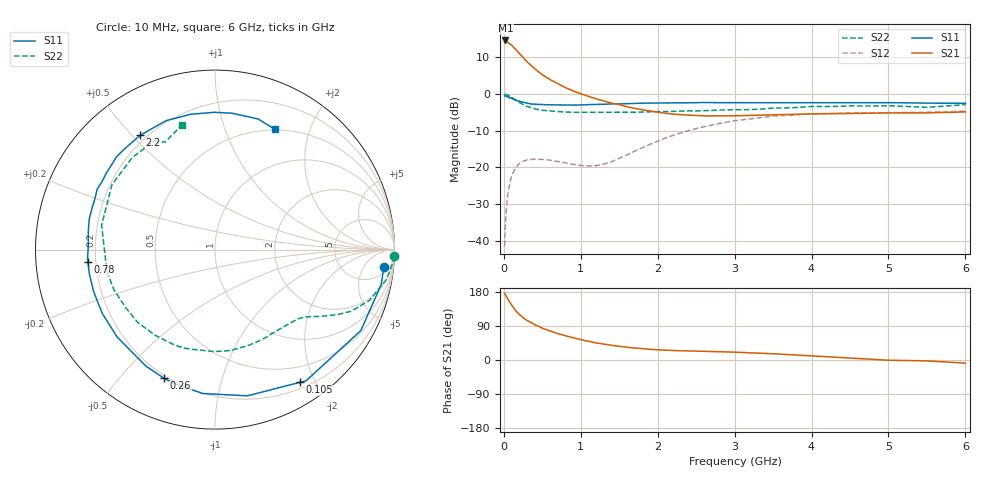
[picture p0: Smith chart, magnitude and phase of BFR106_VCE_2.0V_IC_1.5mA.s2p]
! Infineon Technologies  Discrete & RF Semiconductors
! BFR106
! VCE =  2.0 V,  IC =  1.5 mA
! Common Emitter S-Parameters:  Nov 2015
# GHz  S  MA  R  50
!  f  S11  S21  S12  S22
! GHz  MAG  ANG  MAG  ANG  MAG  ANG  MAG  ANG
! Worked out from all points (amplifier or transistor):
!   210 points, 10 MHz to 6 GHz, reference 50 ohm
!   highest |S21| = 14.6 dB at 20 MHz (marker M1)
!   |S21| within 3 dB of that: start of sweep to 178.3 MHz
!   unconditionally stable (mu >= 1): 807.7 MHz to end of sweep
!   at 185 MHz: K = 0.22, MSG = 15.4 dB, |S12| = -19.3 dB
!   at 1.52 GHz: K = 1.31, MAG = 3.8 dB, |S12| = -17.4 dB
!   at 6 GHz: K = 1.02, MAG = -1.0 dB, |S12| = -4.6 dB
!   S11 on the Smith chart (normalised r, x): 10 MHz: 8, -15; 105 MHz: 0.28, -1.80; 260 MHz: 0.19, -0.66; 780 MHz: 0.17, -0.05; 2.2 GHz: 0.17, +0.53; 6 GHz: 0.49, +1.51
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0.01  0.9461 -5.9  5.384 175.6  0.0084 87.3  0.9977 -2.1
0.02  0.9461 -11.9  5.399 172.6  0.0167 83.1  0.9933 -4.2
0.05  0.9294 -29.0  5.171 160.8  0.0417 73.4  0.9689 -10.0
0.1  0.8898 -55.2  4.693 145.3  0.0754 60.0  0.9051 -18.3
0.105  0.8786 -57.3  4.624 144.0  0.0775 58.5  0.8974 -18.9
0.15  0.8344 -77.5  4.129 130.7  0.0981 48.3  0.8322 -24.4
0.2  0.8048 -94.9  3.613 120.6  0.1126 40.6  0.7715 -28.0
0.26  0.7717 -111.6  3.068 110.0  0.1224 32.7  0.7111 -31.4
0.3  0.7543 -120.8  2.773 104.4  0.1265 29.4  0.6824 -33.1
0.4  0.731 -138.2  2.228 93.2  0.1295 23.1  0.6298 -36.5
0.5  0.7219 -150.5  1.836 83.9  0.1287 19.3  0.6025 -39.7
0.6  0.7155 -160.8  1.578 76.3  0.1255 17.5  0.5884 -43.4
0.78  0.7115 -174.4  1.258 65.2  0.1162 18.7  0.5709 -50.7
1.02  0.7142 170.9  0.992 52.8  0.1058 27.6  0.5651 -61.4
1.4  0.7379 152.8  0.753 38.7  0.1195 52.0  0.5684 -80.5
2.02  0.7544 129.2  0.563 26.7  0.2326 63.7  0.5768 -114.5
2.2  0.7612 123.2  0.532 25.0  0.2731 61.8  0.5817 -124.5
2.8  0.7637 105.3  0.503 22.2  0.3976 49.2  0.6059 -158.5
3.1  0.7641 98.3  0.509 19.8  0.4452 41.6  0.6122 -173.5
4.1  0.7647 81.7  0.538 9.9  0.5398 19.3  0.6766 144.6
5.1  0.763 70.6  0.554 -0.9  0.5604 3.8  0.6871 118.4
6  0.7495 63.3  0.572 -8.3  0.5863 -6.4  0.7189 104.8
